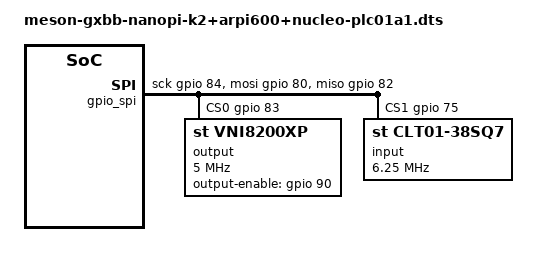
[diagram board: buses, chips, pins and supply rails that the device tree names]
/*
 * Copyright (c) 2018 Andreas Färber
 *
 * SPDX-License-Identifier: GPL-2.0+ or MIT
 */

/dts-v1/;
/plugin/;

/ {
	compatible = "friendlyarm,nanopi-k2";

	#address-cells = <1>;
	#size-cells = <0>;

	fragment@0 {
		reg = <0>;

		target-path = "/";

		__overlay__ {
			gpio_spi: spi {
				compatible = "spi-gpio";
				mosi-gpios = <&gpio 80 0>; /* GPIOY_5 */
				gpio-mosi  = <&gpio 80 0>; /* GPIOY_5 */
				miso-gpios = <&gpio 82 0>; /* GPIOY_7 */
				gpio-miso  = <&gpio 82 0>; /* GPIOY_7 */
				sck-gpios  = <&gpio 84 0>; /* GPIOY_9 */
				gpio-sck   = <&gpio 84 0>; /* GPIOY_9 */
				cs-gpios   = <&gpio 83 0>, /* GPIOY_8 */
				             <&gpio 75 0>; /* GPIOY_0 */
				num-chipselects = <2>;
				#address-cells = <1>;
				#size-cells = <0>;
				/*ranges;*/
			};
		};
	};

	fragment@1 {
		reg = <1>;

		target-path = "/aliases";

		__overlay__ {
		};
	};

	fragment@2 {
		reg = <2>;

		target = <&gpio_spi>;

		__overlay__ {
			#address-cells = <1>;
			#size-cells = <0>;

			output@0 {
				compatible = "st,vni8200xp";
				reg = <0>;
				spi-max-frequency = <5000000>;
				output-enable-gpios = <&gpio 90 0>; /*GPIOY_15*/
			};

			input@1 {
				compatible = "st,clt01-38sq7";
				reg = <1>;
				spi-max-frequency = <6250000>;
			};
		};
	};
};
